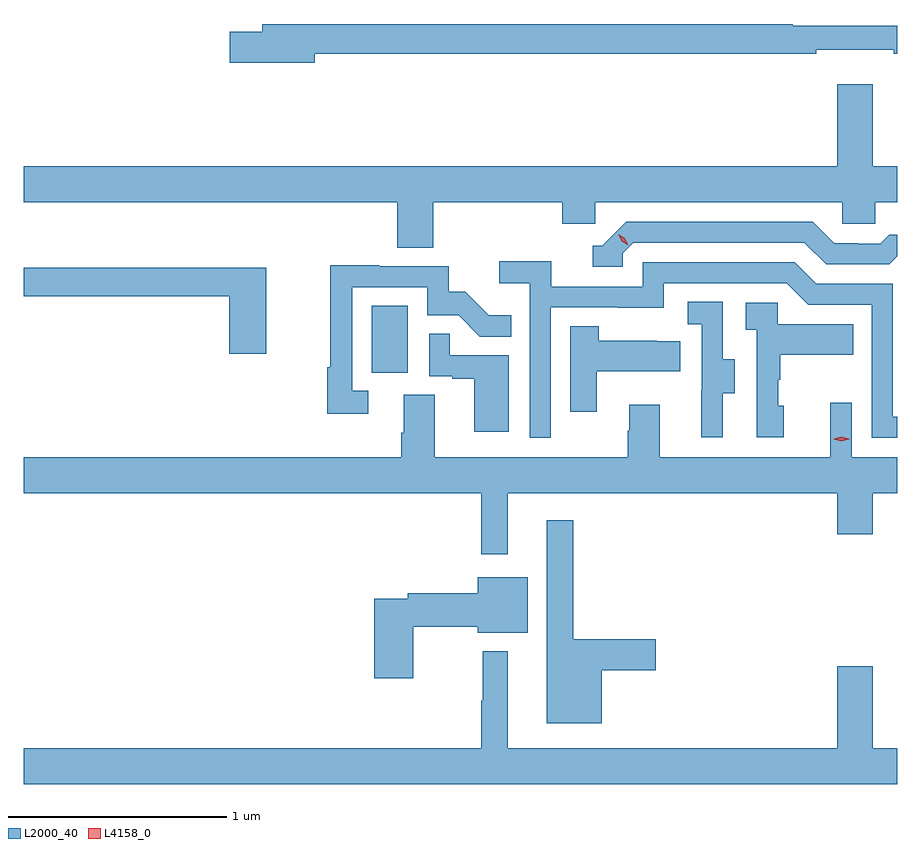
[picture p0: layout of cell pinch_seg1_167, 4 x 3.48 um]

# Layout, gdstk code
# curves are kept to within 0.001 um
import gdstk
lib = gdstk.Library(unit=1e-6, precision=1e-09)
def R(c, l, rs):  # rectangles x0, y0, x1, y1
    for r in rs: c.add(gdstk.rectangle(r[:2], r[2:], *l))
def P(c, l, *ps):  # polygons
    for p in ps: c.add(gdstk.Polygon(p, *l))
L2000_40 = (2000, 40)
L4158_0 = (4158, 0)

pinch_seg1_167 = lib.new_cell('pinch_seg1_167')
R(pinch_seg1_167, L2000_40, [(1097.942,561.606,1098.106,561.913)])
P(pinch_seg1_167, L2000_40, [(1097.68,563.068),(1099.976,563.068),(1099.976,563.087),(1100.332,563.087),(1100.332,563.068),(1100.348,563.068),(1100.348,563.197),(1099.87,563.197),(1099.87,563.204),(1097.441,563.204),(1097.441,563.168),(1097.292,563.168),(1097.292,563.026),(1097.68,563.026)],
  [(1098.224,562.388),(1098.815,562.388),(1098.815,562.29),(1098.966,562.29),(1098.966,562.388),(1100.097,562.388),(1100.097,562.29),(1100.247,562.29),(1100.247,562.388),(1100.348,562.388),(1100.348,562.552),(1100.236,562.552),(1100.236,562.927),(1100.072,562.927),(1100.072,562.552),(1096.348,562.552),(1096.348,562.388),(1098.059,562.388),(1098.059,562.18),(1098.224,562.18)],
  [(1099.092,562.155),(1099.14,562.203),(1099.923,562.203),(1100.022,562.104),(1100.311,562.104),(1100.348,562.141),(1100.348,562.24),(1100.311,562.24),(1100.269,562.197),(1100.166,562.197),(1100.166,562.2),(1100.059,562.2),(1099.96,562.299),(1099.107,562.299),(1098.996,562.188),(1098.953,562.188),(1098.953,562.092),(1099.092,562.092)],
  [(1098.762,561.906),(1099.278,561.905),(1099.278,562.017),(1099.842,562.017),(1099.941,561.918),(1100.232,561.918),(1100.232,561.309),(1100.348,561.309),(1100.348,561.405),(1100.328,561.405),(1100.328,562.014),(1099.978,562.014),(1099.879,562.113),(1099.182,562.113),(1099.182,562.002),(1098.764,562.002),(1098.764,562.118),(1098.525,562.118),(1098.525,562.016),(1098.666,562.016),(1098.666,561.309),(1098.762,561.309)],
  [(1097.926,561.525),(1097.853,561.525),(1097.853,561.999),(1098.195,561.999),(1098.195,561.87),(1098.339,561.87),(1098.437,561.772),(1098.581,561.772),(1098.581,561.871),(1098.477,561.871),(1098.37,561.978),(1098.294,561.978),(1098.294,562.095),(1097.975,562.095),(1097.975,562.1),(1097.752,562.1),(1097.752,561.632),(1097.737,561.632),(1097.737,561.42),(1097.926,561.42)],
  [(1097.458,562.087),(1096.348,562.087),(1096.348,561.958),(1097.288,561.958),(1097.288,561.693),(1097.458,561.693)],
  [(1099.549,561.514),(1099.603,561.514),(1099.603,561.669),(1099.548,561.669),(1099.548,561.932),(1099.389,561.932),(1099.389,561.829),(1099.452,561.829),(1099.452,561.525),(1099.451,561.525),(1099.451,561.312),(1099.549,561.312)],
  [(1099.828,561.456),(1099.803,561.456),(1099.803,561.575),(1099.813,561.575),(1099.813,561.689),(1100.147,561.689),(1100.147,561.829),(1099.8,561.829),(1099.8,561.927),(1099.653,561.927),(1099.653,561.803),(1099.704,561.803),(1099.704,561.312),(1099.828,561.312)],
  [(1098.973,561.614),(1099.355,561.614),(1099.355,561.751),(1099.247,561.751),(1099.247,561.754),(1098.981,561.754),(1098.981,561.821),(1098.851,561.821),(1098.851,561.429),(1098.973,561.429)],
  [(1098.568,561.687),(1098.299,561.687),(1098.299,561.785),(1098.204,561.785),(1098.204,561.591),(1098.311,561.591),(1098.311,561.579),(1098.41,561.579),(1098.41,561.336),(1098.568,561.336)],
  [(1098.565,561.056),(1100.072,561.056),(1100.072,560.868),(1100.236,560.868),(1100.236,561.056),(1100.348,561.056),(1100.348,561.22),(1100.139,561.22),(1100.139,561.469),(1100.042,561.469),(1100.042,561.22),(1099.261,561.22),(1099.261,561.46),(1099.121,561.46),(1099.121,561.341),(1099.114,561.341),(1099.114,561.22),(1098.229,561.22),(1098.229,561.506),(1098.089,561.506),(1098.089,561.332),(1098.077,561.332),(1098.077,561.22),(1096.348,561.22),(1096.348,561.056),(1098.444,561.056),(1098.444,560.775),(1098.565,560.775)],
  [(1098.994,560.245),(1099.243,560.245),(1099.243,560.387),(1098.865,560.387),(1098.865,560.932),(1098.743,560.932),(1098.743,560.003),(1098.994,560.003)],
  [(1098.132,560.443),(1098.428,560.443),(1098.428,560.417),(1098.655,560.417),(1098.655,560.671),(1098.428,560.671),(1098.428,560.598),(1098.107,560.598),(1098.107,560.572),(1097.954,560.572),(1097.954,560.208),(1098.132,560.208)],
  [(1100.348,559.888),(1100.236,559.888),(1100.236,560.263),(1100.072,560.263),(1100.072,559.888),(1098.565,559.888),(1098.565,560.332),(1098.451,560.332),(1098.451,560.105),(1098.444,560.105),(1098.444,559.888),(1096.348,559.888),(1096.348,559.724),(1100.348,559.724)])
P(pinch_seg1_167, L4158_0, [(1099.117,562.19),(1099.086,562.209),(1099.07,562.241),(1099.07,562.242),(1099.07,562.242),(1099.101,562.222),(1099.117,562.19),(1099.117,562.19)],
  [(1100.092,561.294),(1100.057,561.303),(1100.057,561.304),(1100.057,561.304),(1100.092,561.314),(1100.127,561.304),(1100.127,561.304),(1100.127,561.303)])

lib.write_gds('pinch_seg1_167.gds')
